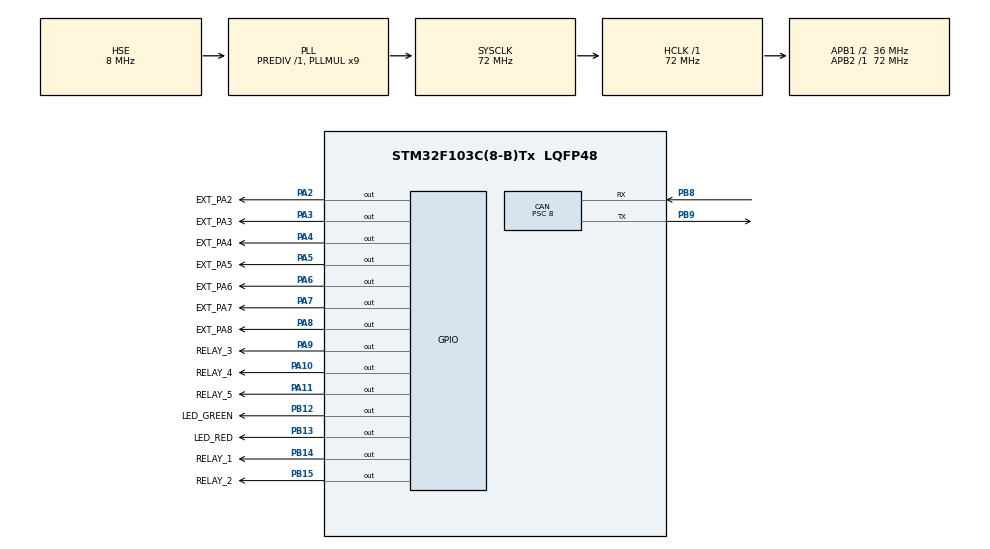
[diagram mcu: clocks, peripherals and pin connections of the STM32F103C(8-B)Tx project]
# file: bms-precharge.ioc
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CAN.BS1=CAN_BS1_3TQ
CAN.BS2=CAN_BS2_5TQ
CAN.CalculateBaudRate=500000
CAN.CalculateTimeBit=2000
CAN.CalculateTimeQuantum=222.22222222222223
CAN.Prescaler=8
CAN.SJW=CAN_SJW_2TQ
Mcu.Family=STM32F1
Mcu.Name=STM32F103C(8-B)Tx
Mcu.Package=LQFP48
NVIC.CAN1_RX1_IRQn=true\:0\:0\:false\:false\:true\:true\:true\:true
NVIC.PriorityGroup=NVIC_PRIORITYGROUP_4
NVIC.TIM4_IRQn=true\:0\:0\:false\:false\:true\:true\:true\:true
NVIC.USB_LP_CAN1_RX0_IRQn=true\:0\:0\:false\:false\:true\:true\:true\:true
PA10.GPIO_Label=RELAY_4
PA10.Signal=GPIO_Output
PA11.GPIO_Label=RELAY_5
PA11.Signal=GPIO_Output
PA13.Mode=Trace_Asynchronous_SW
PA13.Signal=SYS_JTMS-SWDIO
PA14.Mode=Trace_Asynchronous_SW
PA14.Signal=SYS_JTCK-SWCLK
PA2.GPIO_Label=EXT_PA2
PA2.Signal=GPIO_Output
PA3.GPIO_Label=EXT_PA3
PA3.Signal=GPIO_Output
PA4.GPIO_Label=EXT_PA4
PA4.Signal=GPIO_Output
PA5.GPIO_Label=EXT_PA5
PA5.Signal=GPIO_Output
PA6.GPIO_Label=EXT_PA6
PA6.Signal=GPIO_Output
PA7.GPIO_Label=EXT_PA7
PA7.Signal=GPIO_Output
PA8.GPIO_Label=EXT_PA8
PA8.Signal=GPIO_Output
PA9.GPIO_Label=RELAY_3
PA9.Signal=GPIO_Output
PB12.GPIO_Label=LED_GREEN
PB12.Signal=GPIO_Output
PB13.GPIO_Label=LED_RED
PB13.Signal=GPIO_Output
PB14.GPIO_Label=RELAY_1
PB14.Signal=GPIO_Output
PB15.GPIO_Label=RELAY_2
PB15.Signal=GPIO_Output
PB3.Mode=Trace_Asynchronous_SW
PB3.Signal=SYS_JTDO-TRACESWO
PB8.Mode=CAN_Activate
PB8.Signal=CAN_RX
PB9.Mode=CAN_Activate
PB9.Signal=CAN_TX
PC14-OSC32_IN.Mode=LSE-External-Oscillator
PC14-OSC32_IN.Signal=RCC_OSC32_IN
PC15-OSC32_OUT.Mode=LSE-External-Oscillator
PC15-OSC32_OUT.Signal=RCC_OSC32_OUT
PD0-OSC_IN.Mode=HSE-External-Oscillator
PD0-OSC_IN.Signal=RCC_OSC_IN
PD1-OSC_OUT.Mode=HSE-External-Oscillator
PD1-OSC_OUT.Signal=RCC_OSC_OUT
ProjectManager.HeapSize=0x200
ProjectManager.StackSize=0x400
ProjectManager.TargetToolchain=STM32CubeIDE
RCC.ADCPresc=RCC_ADCPCLK2_DIV6
RCC.AHBFreq_Value=72000000
RCC.APB1CLKDivider=RCC_HCLK_DIV2
RCC.APB1Freq_Value=36000000
RCC.APB1TimFreq_Value=72000000
RCC.APB2Freq_Value=72000000
RCC.APB2TimFreq_Value=72000000
RCC.HCLKFreq_Value=72000000
RCC.PLLMUL=RCC_PLL_MUL9
RCC.PLLSourceVirtual=RCC_PLLSOURCE_HSE
RCC.RCC_MCOSource=RCC_MCO1SOURCE_HSI
RCC.SYSCLKFreq_VALUE=72000000
RCC.SYSCLKSource=RCC_SYSCLKSOURCE_PLLCLK
RCC.USBFreq_Value=48000000
RCC.USBPrescaler=RCC_USBCLKSOURCE_PLL_DIV1_5
RTC.Date=5
RTC.Month=RTC_MONTH_DECEMBER
RTC.WeekDay=RTC_WEEKDAY_TUESDAY
RTC.Year=23
TIM4.Period=10000-1
TIM4.Prescaler=72-1
VP_CRC_VS_CRC.Mode=CRC_Activate
VP_RTC_VS_RTC_Activate.Mode=RTC_Enabled
VP_RTC_VS_RTC_Calendar.Mode=RTC_Calendar
VP_TIM4_VS_ClockSourceINT.Mode=Internal
board=custom

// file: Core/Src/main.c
/* USER CODE BEGIN Header */
/**
  ******************************************************************************
  * @file           : main.c
  * @brief          : Main program body
  ******************************************************************************
  * @attention
  *
  * Copyright (c) 2023 STMicroelectronics.
  * All rights reserved.
  *
  * This software is licensed under terms that can be found in the LICENSE file
  * in the root directory of this software component.
  * If no LICENSE file comes with this software, it is provided AS-IS.
  *
  ******************************************************************************
  */
/* USER CODE END Header */
#include "main.h"
#include "can.h"
#include "crc.h"
#include "rtc.h"
#include "tim.h"
#include "gpio.h"

/* USER CODE BEGIN Includes */
#include <stdio.h>
#include <math.h>
#include <string.h>

#include "precharger.h"

#if __has_include("gitcommit.h")
	#include "gitcommit.h"
#else
	#define __GIT_SHORT_HASH__ 0x0000000
	#define __GIT_BRANCH__ "none"
	#define __GIT_DATE_STR__ "2025-04-12"
	#define __GIT_DATE_UT__ 1732571756
#endif

/* USER CODE END Includes */

/* USER CODE BEGIN PTD */
uint8_t process_10Ms_Timer(void);
void AlertHandler(void);
/* USER CODE END PTD */

/* USER CODE BEGIN PV */
uint8_t main_task_scheduler;
uint8_t alive_timer;
uint16_t timer_10ms;

#ifdef __DEBUG__
__attribute__((__section__(".dev_config"))) const _DEV_CONFIG_REGS dev_config_regs = {
		__DEV_ID__,
		__BOARD_TYPE__,
		__BOARD_NAME__,
		__BOARD_VERSION__,
		__BOARD_MF_DATE__,
		DEAULT_BL_CAN_BITRATE,
		DEAULT_APP_CAN_BITRATE,
		DEAULT_TRIPP_CAN_ID,
		DEAULT_BROADCAST_CAN_ID,
};
#endif

__attribute__((__section__(".board_info"))) _BOARD_INFO_STRUCT board_name = {__BOARD_NAME__};

__attribute__((__section__(".sw_info"))) const _SW_INFO_REGS sw_info_regs = {
		__SW_NAME__,
	#ifdef __DEBUG__
		"Debug",
	#else
		"Release",
	#endif
		__SW_RELEASE__,
		__SW_RELEASE_DATE__,
		{	//git-info aus gitcommit.h
			__GIT_SHORT_HASH__,
			__GIT_DATE_UT__,
			__GIT_DATE_STR__,
			__GIT_BRANCH__,
		}
};

//alles was persistend (im Flash) gespeichert werden soll, z.b. Kalibration, ...
__attribute__((__section__(".app_config"))) const _BMS_PRECHARGE_CONFIG_REGS app_cfg_regs = {

	//crit_allert_mask mask
	0,

	//enable mask
	((0x01<<PC_RELAY1) | (0x01<<PC_RELAY2))
};

const _DEV_CONFIG_REGS* pDevConfig = (const _DEV_CONFIG_REGS*)DEV_CONFIG_FL_ADDRESS;

/**
 * @var		main_regs
 * @brief	Registersatz im Ram (Arbeitsregister)
 * @see		MAIN_REGS
 * @see		main_ee_regs
 *
 */
_MAIN_REGS main_regs = {
	//!<RW CTRL Ein-/Ausschalten usw.  (1 BYTE )
	((1<<REG_CTRL_ACTIVATE) | (1<<REG_CTRL_CRIT_ALERT) |
	(1<<REG_CTRL_ENABLE_PC) | (1<<REG_CTRL_WARN_ENABLE)),

	SYS_OK,
	ERR_NONE,
	STATE_OFF,

	ALIVE_TIMEOUT_10MS,

	0,
	0,
	0,
	0,
	0,
	0,

	{}
};

/* USER CODE END PV */

void SystemClock_Config(void);

/* USER CODE BEGIN 0 */
int _write(int file, char *ptr, int len)
 {
	 int DataIdx;
	 for (DataIdx = 0; DataIdx < len; DataIdx++)
	 {
		 ITM_SendChar(*ptr++);
	 }
	 return len;
 }

_LED_SIGNAL_STATE	led_state={1,SLOW_FLASH,OFF};

/****************************************************************************
  * @brief  The application entry point.
  * @retval int
  */
void set_signal_led(uint8_t led, _LED_SIGNAL_MASK mask)
{
	if(led & GREEN_LED)
		led_state.green_led_mask=mask;

	if(led & CAN_LED) {
		led_state.can_led_mask=mask;
		led_state.mask=1;
	}

	return;
}

/****************************************************************************
  * @brief  The application entry point.
  * @retval int
  */
void signal_led_task(void)
{

	if(led_state.green_led_mask & led_state.mask) {
		HAL_GPIO_WritePin(LED_GREEN_GPIO_Port, LED_GREEN_Pin, GPIO_PIN_SET);
	}else {
		HAL_GPIO_WritePin(LED_GREEN_GPIO_Port, LED_GREEN_Pin, GPIO_PIN_RESET);
	}

	if(led_state.can_led_mask & led_state.mask) {
		HAL_GPIO_TogglePin(LED_GREEN_GPIO_Port, LED_GREEN_Pin);
		led_state.can_led_mask &= + ~led_state.mask;
	}

	led_state.mask<<=1;
	if (!led_state.mask) {
		led_state.mask=1;
	}
}

/* USER CODE END 0 */

int main(void)
{
/* USER CODE BEGIN 1 */

	main_task_scheduler = 0;
	alive_timer = 0;
	timer_10ms = 0;

	//copy app-config from flash to ram (we will use it from ram)
	memcpy(&main_regs.cfg_regs, &app_cfg_regs, sizeof(_BMS_PRECHARGE_CONFIG_REGS));

	//copy dev-config from flash to ram (we will use it from ram)
	memcpy(&main_regs.dev_config, pDevConfig, sizeof(_DEV_CONFIG_REGS));

	//copy sofware-info from flash to ram (we will use it from ram)
	memcpy(&main_regs.sw_info, &sw_info_regs, sizeof(_SW_INFO_REGS));

	//copy board-name from flash to ram (we will use it from ram)
	memcpy(&main_regs.board_info, &board_name, sizeof(_BOARD_INFO_STRUCT));

/* USER CODE END 1 */

  /* MCU Configuration--------------------------------------------------------*/

  /* Reset of all peripherals, Initializes the Flash interface and the Systick. */
  HAL_Init();

  /* Configure the system clock */
  SystemClock_Config();

  /* Initialize all configured peripherals */
  MX_GPIO_Init();
  MX_CAN_Init();
  MX_RTC_Init();
  MX_CRC_Init();
  MX_TIM4_Init();

/* USER CODE BEGIN 2 */

  // Start CAN
  HAL_CAN_Start(&hcan);

  // Start timer
  HAL_TIM_Base_Start_IT(&htim4);

  //activate incomming notifications on CAN-Bus
  if (HAL_CAN_ActivateNotification(&hcan, CAN_IT_RX_FIFO0_MSG_PENDING) != HAL_OK)
  {
	  Error_Handler();
  }

	//
	if (main_regs.ctrl & (1<<REG_CTRL_ENABLE_PC)) {
		PreCharger_init();
	}

/* USER CODE END 2 */

  /* Infinite loop */
  while (1)
  {

/* USER CODE BEGIN 3 */

	  /* PROCESS_PBALANCER  --------------------------------------------------------*/
	  if (main_task_scheduler & PROCESS_PC_TASK) {
		  if (main_regs.ctrl & (1<<REG_CTRL_ENABLE_PC)){

			  if (!process_PreCharger()){
				  //check_AllertThrescholds();
				  main_task_scheduler &= ~PROCESS_PC_TASK;
			  }
		  }else {
			  main_task_scheduler &= ~PROCESS_PC_TASK;
		  }
	  }

	  if (main_task_scheduler & PROCESS_CAN)
	  {
		  if (!process_CAN())
			  main_task_scheduler &= ~PROCESS_CAN;
	  }

	  if (main_task_scheduler & PROCESS_10_MS_TASK)
	  {
		  if (!process_10Ms_Timer())
			  main_task_scheduler &= ~PROCESS_10_MS_TASK;
	  }

	  if (main_task_scheduler & PROCESS_100_MS_TASK)
	  {
		  main_task_scheduler &= ~PROCESS_100_MS_TASK;

		  signal_led_task();

		  //main_task_scheduler |= PROCESS_CAN;
		  //can_task_scheduler |= PROCESS_CAN_SEND_NEW_ALIVE_DATA;
	  }
  }
/* USER CODE END 3 */
}

void SystemClock_Config(void)
{
  RCC_OscInitTypeDef RCC_OscInitStruct = {0};
  RCC_ClkInitTypeDef RCC_ClkInitStruct = {0};
  RCC_PeriphCLKInitTypeDef PeriphClkInit = {0};

  /** Initializes the RCC Oscillators according to the specified parameters
  * in the RCC_OscInitTypeDef structure.
  */
  RCC_OscInitStruct.OscillatorType = RCC_OSCILLATORTYPE_LSI|RCC_OSCILLATORTYPE_HSE;
  RCC_OscInitStruct.HSEState = RCC_HSE_ON;
  RCC_OscInitStruct.HSEPredivValue = RCC_HSE_PREDIV_DIV1;
  RCC_OscInitStruct.HSIState = RCC_HSI_ON;
  RCC_OscInitStruct.LSIState = RCC_LSI_ON;
  RCC_OscInitStruct.PLL.PLLState = RCC_PLL_ON;
  RCC_OscInitStruct.PLL.PLLSource = RCC_PLLSOURCE_HSE;
  RCC_OscInitStruct.PLL.PLLMUL = RCC_PLL_MUL9;
  if (HAL_RCC_OscConfig(&RCC_OscInitStruct) != HAL_OK)
  {
    Error_Handler();
  }

  /** Initializes the CPU, AHB and APB buses clocks
  */
  RCC_ClkInitStruct.ClockType = RCC_CLOCKTYPE_HCLK|RCC_CLOCKTYPE_SYSCLK
                              |RCC_CLOCKTYPE_PCLK1|RCC_CLOCKTYPE_PCLK2;
  RCC_ClkInitStruct.SYSCLKSource = RCC_SYSCLKSOURCE_PLLCLK;
  RCC_ClkInitStruct.AHBCLKDivider = RCC_SYSCLK_DIV1;
  RCC_ClkInitStruct.APB1CLKDivider = RCC_HCLK_DIV2;
  RCC_ClkInitStruct.APB2CLKDivider = RCC_HCLK_DIV1;

  if (HAL_RCC_ClockConfig(&RCC_ClkInitStruct, FLASH_LATENCY_2) != HAL_OK)
  {
    Error_Handler();
  }
  PeriphClkInit.PeriphClockSelection = RCC_PERIPHCLK_RTC;
  PeriphClkInit.RTCClockSelection = RCC_RTCCLKSOURCE_LSI;
  if (HAL_RCCEx_PeriphCLKConfig(&PeriphClkInit) != HAL_OK)
  {
    Error_Handler();
  }
  HAL_RCC_MCOConfig(RCC_MCO, RCC_MCO1SOURCE_HSE, RCC_MCODIV_1);
}

/* USER CODE BEGIN 4 */

//*****************************************************************************
//
//! wird alle 10ms aufgerufen, getriggert durch den Timer4-overrun
//!
//! \fn uint8_t process_10Ms_Timer(void)
//!
//!
//! \return None.
//
//*****************************************************************************
uint8_t process_10Ms_Timer(void)
{
	uint8_t alert_msg;

	if (alive_timer)
	{
		if (--alive_timer == 0)
		{
			//kritisch
			alive_timer = main_regs.alive_timeout;

			alert_msg = ERR_ALIVE;
			DoAlert(&alert_msg, 1);
		}
	}

	if (main_regs.ctrl & (1<<REG_CTRL_ENABLE_PC))
		process_PreCharger();

	if (!(++timer_10ms % 10))
	{
		main_task_scheduler |= PROCESS_100_MS_TASK;
	}

	return 0;
}

//*****************************************************************************
//
//! wird im Fehlerfall aufgerufen und aktivert die vollständige Abschaltung
//!
//! \fn void AlertHandler(void)
//!
//!
//! \return None.
//
//*****************************************************************************
void AlertHandler(void)
{
	//send Something?

	if (main_regs.ctrl & (1<<REG_CTRL_ACTIVATE))
	{
		HAL_GPIO_WritePin(RELAY_1_GPIO_Port, RELAY_1_Pin, GPIO_PIN_SET);

		Error_Handler();
	}
}

//*****************************************************************************
//
//! wird im Fehlerfall aufgerufen und aktivert die vollständige Abschaltung
//!
//! \fn void AllertHandler(void)
//!
//!
//! \return None.
//
//*****************************************************************************
void DoAlert(uint8_t* p_msg, uint8_t len)
{

	if (main_regs.ctrl & (1<<REG_CTRL_CRIT_ALERT))
	{
		//Time to say goodbye, trip SYSTEM_TRIP_RELAY2
		HAL_GPIO_WritePin(RELAY_1_GPIO_Port, RELAY_1_Pin, GPIO_PIN_SET);

		AlertHandler();
	}

	//send Something?
	can_send_alert_msg(p_msg, len);

	main_regs.sys_err=(_SYS_ERR_CODES)p_msg[0];
	main_regs.sys_state=SYS_ERROR;

}

//*****************************************************************************
//
//! Callback: timer has rolled over
//!
//! \fn void HAL_TIM_PeriodElapsedCallback(TIM_HandleTypeDef *htim)
//!
//!
//! \return None.
//
//*****************************************************************************
void HAL_TIM_PeriodElapsedCallback(TIM_HandleTypeDef *htim)
{
	// Check which version of the timer triggered this callback and toggle LED
	if (htim == &htim4 )
	{
		main_task_scheduler |= PROCESS_10_MS_TASK;
	}
}

/* Jump to Bootoader -------------------------------------------------------------*/
void JumpToBtld(void){
    uint32_t  JumpAddress = *(__IO uint32_t*)(DEV_BL_ADDRESS + 4);
    pFunction Jump = (pFunction)JumpAddress;

    HAL_RCC_DeInit();
    HAL_DeInit();

    //HAL_NVIC_DisableIRQ();

    SysTick->CTRL = 0;
    SysTick->LOAD = 0;
    SysTick->VAL  = 0;

#if (SET_VECTOR_TABLE)
    SCB->VTOR = DEV_BL_ADDRESS;
#endif

    __set_MSP(*(__IO uint32_t*)DEV_BL_ADDRESS);
    Jump();
}

/* Jump to application -------------------------------------------------------------*/
void JumpToApp(void){
    uint32_t  JumpAddress = *(__IO uint32_t*)(DEV_APP_ADDRESS + 4);
    pFunction Jump = (pFunction)JumpAddress;

    HAL_RCC_DeInit();
    HAL_DeInit();

    //HAL_NVIC_DisableIRQ();

    SysTick->CTRL = 0;
    SysTick->LOAD = 0;
    SysTick->VAL  = 0;

#if (SET_VECTOR_TABLE)
    SCB->VTOR = DEV_APP_ADDRESS;
#endif

    __set_MSP(*(__IO uint32_t*)DEV_APP_ADDRESS);
    Jump();
}

/* USER CODE END 4 */

void Error_Handler(void)
{
  /* USER CODE BEGIN Error_Handler_Debug */
  /* User can add his own implementation to report the HAL error return state */
  __disable_irq();
	HAL_GPIO_WritePin(LED_GREEN_GPIO_Port, LED_GREEN_Pin, GPIO_PIN_SET);
  while (1)
  {
  }
  /* USER CODE END Error_Handler_Debug */
}
